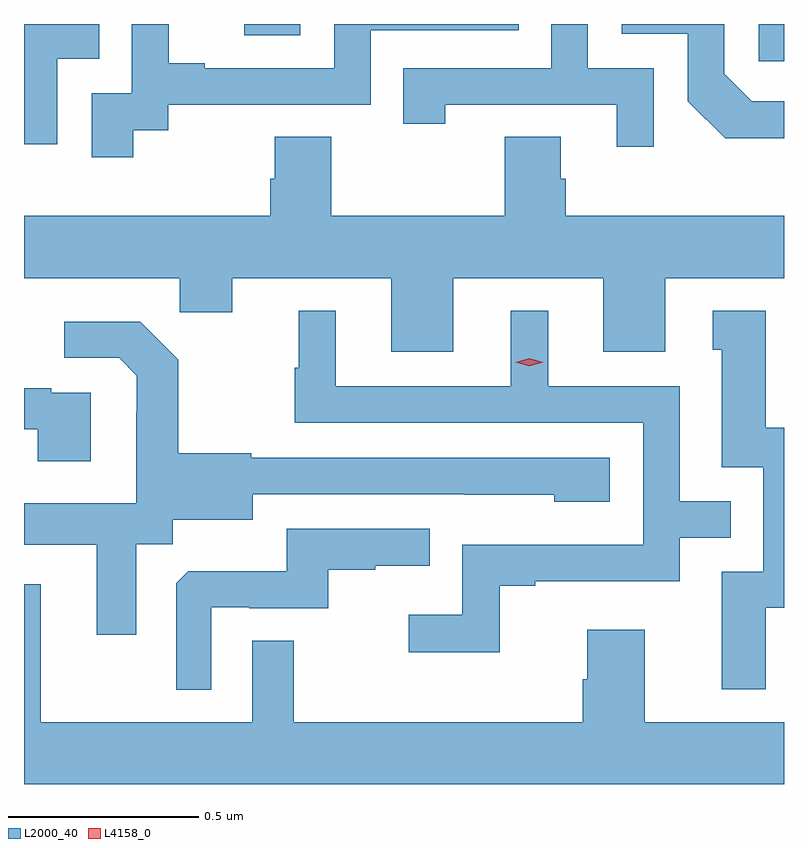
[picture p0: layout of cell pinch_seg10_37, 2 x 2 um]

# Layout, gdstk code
import gdstk
lib = gdstk.Library(unit=1e-6, precision=1e-09)
def R(c, l, rs):  # rectangles x0, y0, x1, y1
    for r in rs: c.add(gdstk.rectangle(r[:2], r[2:], *l))
def P(c, l, *ps):  # polygons
    for p in ps: c.add(gdstk.Polygon(p, *l))
L2000_40 = (2000, 40)
L4158_0 = (4158, 0)

pinch_seg10_37 = lib.new_cell('pinch_seg10_37')
R(pinch_seg10_37, L2000_40, [(903.882,1295.559,903.949,1295.657), (902.529,1295.628,902.676,1295.657)])
P(pinch_seg10_37, L2000_40, [(902.037,1295.565),(902.147,1295.565),(902.147,1295.657),(901.949,1295.657),(901.949,1295.34),(902.037,1295.34)],
  [(903.606,1295.541),(903.432,1295.541),(903.432,1295.657),(903.336,1295.657),(903.336,1295.541),(902.947,1295.541),(902.947,1295.394),(903.058,1295.394),(903.058,1295.445),(903.509,1295.445),(903.509,1295.334),(903.606,1295.334)],
  [(903.949,1295.454),(903.864,1295.454),(903.792,1295.526),(903.792,1295.657),(903.522,1295.657),(903.522,1295.631),(903.696,1295.631),(903.696,1295.454),(903.794,1295.357),(903.949,1295.357)],
  [(902.236,1295.377),(902.328,1295.377),(902.328,1295.445),(902.862,1295.445),(902.862,1295.64),(903.251,1295.64),(903.251,1295.657),(902.766,1295.657),(902.766,1295.541),(902.425,1295.541),(902.425,1295.554),(902.33,1295.554),(902.33,1295.657),(902.232,1295.657),(902.232,1295.475),(902.127,1295.475),(902.127,1295.307),(902.236,1295.307)],
  [(903.079,1294.988),(903.473,1294.988),(903.473,1294.794),(903.637,1294.794),(903.637,1294.988),(903.949,1294.988),(903.949,1295.152),(903.374,1295.152),(903.374,1295.25),(903.361,1295.25),(903.361,1295.36),(903.214,1295.36),(903.214,1295.152),(902.757,1295.152),(902.757,1295.36),(902.609,1295.36),(902.609,1295.25),(902.597,1295.25),(902.597,1295.152),(901.949,1295.152),(901.949,1294.988),(902.359,1294.988),(902.359,1294.898),(902.497,1294.898),(902.497,1294.988),(902.915,1294.988),(902.915,1294.794),(903.079,1294.794)],
  [(903.901,1294.121),(903.949,1294.121),(903.949,1294.595),(903.901,1294.595),(903.901,1294.903),(903.761,1294.903),(903.761,1294.8),(903.785,1294.8),(903.785,1294.491),(903.894,1294.491),(903.894,1294.215),(903.785,1294.215),(903.785,1293.906),(903.901,1293.906)],
  [(903.201,1294.179),(903.295,1294.179),(903.295,1294.191),(903.675,1294.191),(903.675,1294.305),(903.809,1294.305),(903.809,1294.401),(903.675,1294.401),(903.675,1294.704),(903.328,1294.704),(903.328,1294.903),(903.23,1294.903),(903.23,1294.704),(902.77,1294.704),(902.77,1294.903),(902.672,1294.903),(902.672,1294.752),(902.661,1294.752),(902.661,1294.608),(903.579,1294.608),(903.579,1294.287),(903.102,1294.287),(903.102,1294.102),(902.961,1294.102),(902.961,1294.004),(903.201,1294.004)],
  [(902.245,1294.288),(902.34,1294.288),(902.34,1294.352),(902.551,1294.352),(902.551,1294.419),(903.109,1294.419),(903.109,1294.418),(903.345,1294.418),(903.345,1294.4),(903.49,1294.4),(903.49,1294.515),(902.547,1294.515),(902.547,1294.528),(902.355,1294.528),(902.355,1294.773),(902.255,1294.873),(902.055,1294.873),(902.055,1294.779),(902.199,1294.779),(902.246,1294.732),(902.246,1294.637),(902.244,1294.637),(902.244,1294.396),(901.949,1294.396),(901.949,1294.286),(902.141,1294.286),(902.141,1294.05),(902.245,1294.05)],
  [(902.125,1294.686),(902.021,1294.686),(902.021,1294.699),(901.949,1294.699),(901.949,1294.59),(901.985,1294.59),(901.985,1294.506),(902.125,1294.506)],
  [(902.442,1294.122),(902.542,1294.122),(902.542,1294.119),(902.75,1294.119),(902.75,1294.221),(902.873,1294.221),(902.873,1294.232),(903.017,1294.232),(903.017,1294.329),(902.64,1294.329),(902.64,1294.217),(902.381,1294.217),(902.349,1294.185),(902.349,1293.905),(902.442,1293.905)],
  [(903.949,1293.82),(903.583,1293.82),(903.583,1294.063),(903.431,1294.063),(903.431,1293.933),(903.419,1293.933),(903.419,1293.82),(902.659,1293.82),(902.659,1294.034),(902.55,1294.034),(902.55,1293.82),(901.993,1293.82),(901.993,1294.183),(901.949,1294.183),(901.949,1293.657),(903.949,1293.657)])
P(pinch_seg10_37, L4158_0, [(903.279,1294.757),(903.243,1294.767),(903.243,1294.767),(903.243,1294.767),(903.279,1294.777),(903.315,1294.767),(903.315,1294.767),(903.315,1294.767)])

lib.write_gds('pinch_seg10_37.gds')
